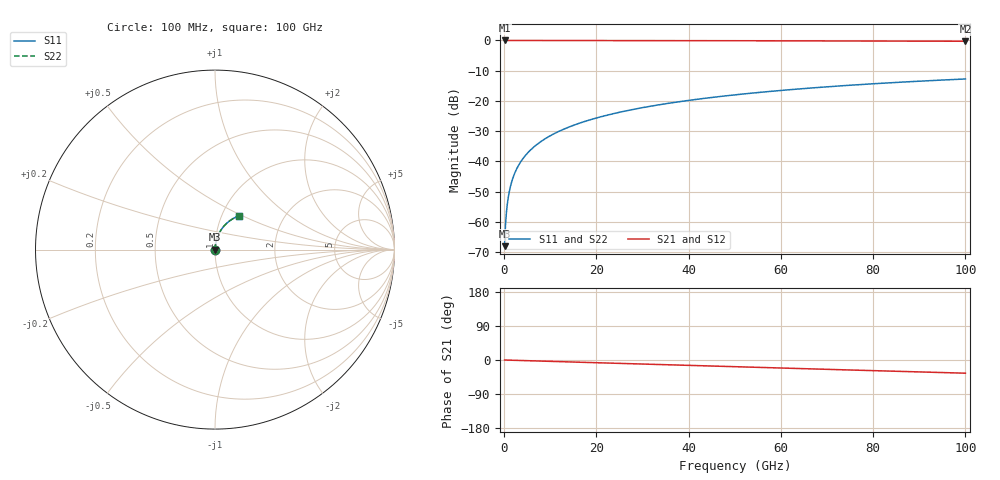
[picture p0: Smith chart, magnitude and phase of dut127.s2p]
! Touchstone file exported from HFSS 2026.1.0
!  File:  C:/ffzhzh/LocalFiles/Ansys_Project_Files/temp_train_TSV_127_1783506225_41296.aedt
!  Generated:  06:25:18 PM Jul  8, 2026
!  Design:  TSV
!  Project:  temp_train_TSV_127_1783506225_41296
! Variables:
!  h_bsmrdl = 2um
!  h_ox = 20um
!  h_rdl = 5um
!  h_sub = 61.32um
!  h_tmrdl = 5um
!  h_tsv = 61.32um
!  h_via = 3um
!  l_bsmrdl = 300um
!  l_sub = 411.14um
!  l_tmrdl = 200um
!  m_sub = 200um
!  pitch = 41.49um
!  r_tsv = 5.57um
!  s_tmrdl = 10um
!  w_bsmrdl = 18um
!  w_sub = 500um
!  w_tmrdl = 12um
!  x_tsv_center1 = 206um
!  x_tsv_center2 = 524um
!  x_tsv_center3 = 736um
!  x_tsv_center4 = 1054um
!  x_tsv_center5 = 1266um
!  x_tsv_center6 = 1584um
# GHz S MA R 50.000000
! Terminal data exported
! Port[1] = TSV1_1_T1
! Port[2] = TSV1_1_T2
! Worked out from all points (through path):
!   1000 points, 100 MHz to 100 GHz, reference 50 ohm
!   highest |S21| = 0.00 dB at 100 MHz (marker M1); lowest = -0.3 dB at 100 GHz (marker M2)
!   group delay of S21, straight-line fit = 968 fs
!   lowest |S11| = -68.0 dB at 100 MHz (marker M3), VSWR 1.00, Z = 50 + j0.0298 ohm
!   |S11| at or under -10 dB: start of sweep to end of sweep
!   |S22| runs from -68.0 to -12.7 dB; largest |S21 - S12| = 4.7e-15
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0.1  0.0003961 48.8  0.9997 -0.0  0.9997 -0.0  0.0003961 48.8
! Gamma 0 0 0 0
! Port Impedance 50 0 50 0
0.4  0.00118 75.6  0.9997 -0.1  0.9997 -0.1  0.00118 75.6
0.7  0.002007 80.8  0.9997 -0.3  0.9997 -0.3  0.002007 80.8
0.8  0.002284 81.7  0.9997 -0.3  0.9997 -0.3  0.002284 81.7
1.1  0.003116 83.2  0.9996 -0.4  0.9996 -0.4  0.003116 83.2
1.4  0.003945 84.0  0.9996 -0.5  0.9996 -0.5  0.003945 84.0
1.9  0.005315 84.6  0.9995 -0.7  0.9995 -0.7  0.005315 84.6
2.4  0.006669 84.8  0.9995 -0.9  0.9995 -0.9  0.006669 84.8
3  0.008275 84.9  0.9994 -1.1  0.9994 -1.1  0.008275 84.9
3.8  0.01039 84.9  0.9993 -1.4  0.9993 -1.4  0.01039 84.9
4.8  0.01302 84.9  0.9992 -1.7  0.9992 -1.7  0.01302 84.9
6  0.01615 84.8  0.999 -2.2  0.999 -2.2  0.01615 84.8
8.8  0.02344 84.3  0.9987 -3.2  0.9987 -3.2  0.02344 84.3
12.4  0.03274 83.4  0.9982 -4.5  0.9982 -4.5  0.03274 83.4
16.8  0.04404 82.1  0.9976 -6.0  0.9976 -6.0  0.04404 82.1
24.2  0.06285 79.8  0.9963 -8.6  0.9963 -8.6  0.06285 79.8
33.4  0.08584 76.8  0.9943 -11.9  0.9943 -11.9  0.08584 76.8
41.2  0.1049 74.1  0.9922 -14.6  0.9922 -14.6  0.1049 74.1
50.1  0.1261 71.1  0.9896 -17.8  0.9896 -17.8  0.1261 71.1
66.7  0.1639 65.5  0.9837 -23.5  0.9837 -23.5  0.1639 65.5
83.4  0.199 59.9  0.9769 -29.2  0.9769 -29.2  0.199 59.9
100  0.2305 54.4  0.9697 -34.8  0.9697 -34.8  0.2305 54.4
